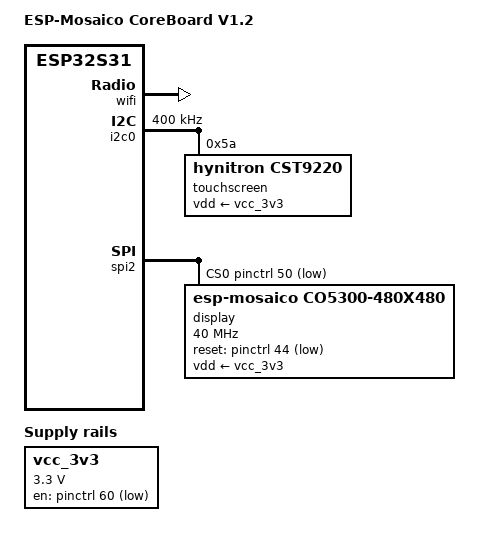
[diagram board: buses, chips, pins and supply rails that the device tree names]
// SPDX-License-Identifier: GPL-2.0+
/*
 * ESP-Mosaico CoreBoard V1.2 (16 MiB flash, 16 MiB PSRAM).
 * The root filesystem is in flash. The shared I2C bus carries the touch
 * controller and sensors; the CO5300 display uses a separate QSPI bus.
 */
/dts-v1/;
#include "esp32s31.dtsi"
#include <dt-bindings/gpio/gpio.h>

/ {
	model = "ESP-Mosaico CoreBoard V1.2";
	compatible = "esp-mosaico,coreboard-v1.2", "esp,esp32s31";

	/* GPIO60 low enables the shared peripheral power rail. */
	vcc_3v3: regulator-vcc-3v3 {
		compatible = "regulator-fixed";
		regulator-name = "vcc-3v3";
		regulator-min-microvolt = <3300000>;
		regulator-max-microvolt = <3300000>;
		gpio = <&pinctrl 60 GPIO_ACTIVE_LOW>;
		regulator-always-on;
		startup-delay-us = <100000>;
	};

	chosen {
		stdout-path = "serial0:115200n8";
	};
};

/* The rootfs and data partitions of partitions-esp-mosaico.csv. */
&wifi {
	flash {
		partitions {
			compatible = "fixed-partitions";
			#address-cells = <1>;
			#size-cells = <1>;

			partition@0 {
				label = "rootfs";
				reg = <0x0 0x780000>;
				read-only;
			};

			partition@780000 {
				label = "data";
				reg = <0x780000 0x270000>;
			};
		};
	};
};

&pinctrl {
	spi2_cfg: spi2-cfg {
		spi2-pins {
			pinmux = <ESP32S31_MATRIX_OUT(42, ESP32S31_SIG_SPI2_CLK)>,
				 <ESP32S31_MATRIX_OUT(36, ESP32S31_SIG_SPI2_D)>,
				 <ESP32S31_MATRIX_OUT(51, ESP32S31_SIG_SPI2_Q)>,
				 <ESP32S31_MATRIX_OUT(35, ESP32S31_SIG_SPI2_WP)>,
				 <ESP32S31_MATRIX_OUT(9, ESP32S31_SIG_SPI2_HD)>;
			bias-disable;
			drive-strength = <20>;
		};
	};

	i2c0_cfg: i2c0-cfg {
		i2c0-pins {
			pinmux = <ESP32S31_MATRIX_INOUT(56, ESP32S31_SIG_I2C0_SDA)>,
				 <ESP32S31_MATRIX_INOUT(3, ESP32S31_SIG_I2C0_SCL)>;
			bias-pull-up;
			drive-open-drain;
		};
	};
};

/* GPIO6 is the touch interrupt; poll until the GPIO controller supports IRQs. */
&i2c0 {
	pinctrl-names = "default";
	pinctrl-0 = <&i2c0_cfg>;
	clock-frequency = <400000>;
	status = "okay";

	touchscreen@5a {
		compatible = "hynitron,cst9220";
		reg = <0x5a>;
		vdd-supply = <&vcc_3v3>;
		touchscreen-size-x = <480>;
		touchscreen-size-y = <480>;
	};
};

&spi2 {
	assigned-clocks = <&hp_clkrst ESP32S31_CLK_SPI2>;
	assigned-clock-rates = <80000000>;
	pinctrl-names = "default";
	pinctrl-0 = <&spi2_cfg>;
	cs-gpios = <&pinctrl 50 GPIO_ACTIVE_LOW>;
	status = "okay";

	display@0 {
		compatible = "esp-mosaico,co5300-480x480";
		reg = <0>;
		spi-max-frequency = <40000000>;
		spi-tx-bus-width = <4>;
		reset-gpios = <&pinctrl 44 GPIO_ACTIVE_LOW>;
		vdd-supply = <&vcc_3v3>;
	};
};
